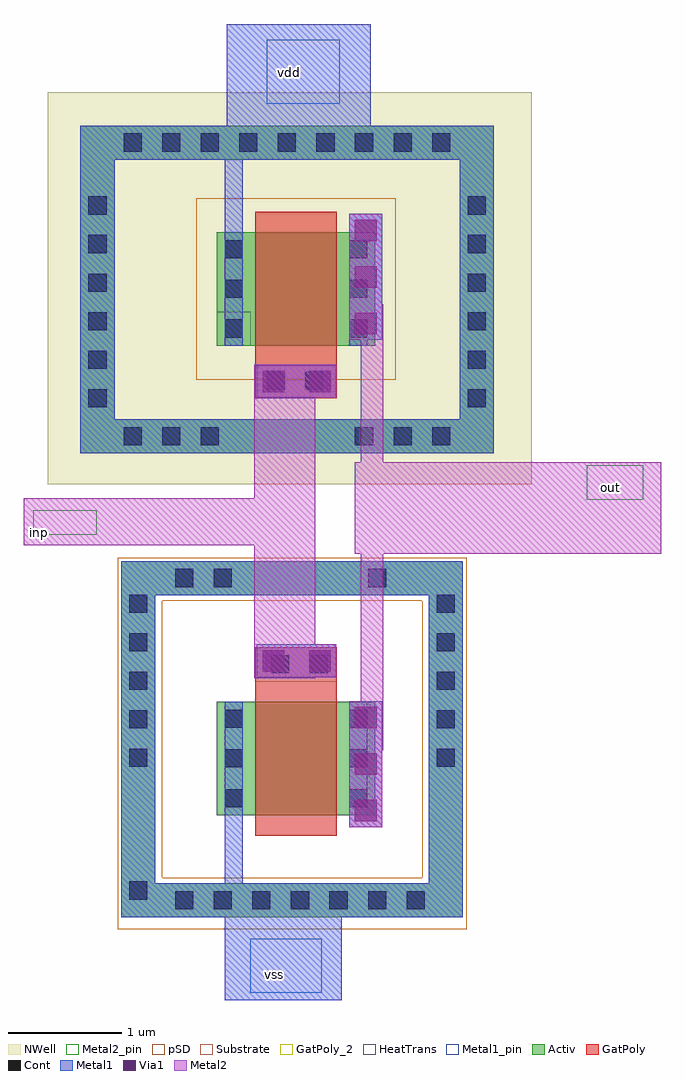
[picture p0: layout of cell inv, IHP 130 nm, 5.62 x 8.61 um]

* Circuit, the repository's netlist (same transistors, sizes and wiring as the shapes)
* Extracted by KLayout with SG13G2 LVS runset on : 26/12/2025 19:48

.SUBCKT inv
M$1 \$1 \$4 \$3 \$1 sg13_lv_nmos L=0.72u W=1u AS=0.34p AD=0.34p PS=2.68u
+ PD=2.68u
M$2 \$2 \$4 \$3 \$2 sg13_lv_pmos L=0.72u W=1u AS=0.34p AD=0.34p PS=2.68u
+ PD=2.68u
.ENDS inv

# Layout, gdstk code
from math import pi, radians
import gdstk
lib = gdstk.Library(unit=1e-6, precision=1e-09)
def R(c, l, rs):  # rectangles x0, y0, x1, y1
    for r in rs: c.add(gdstk.rectangle(r[:2], r[2:], *l))
def A(c, l, x, y, w, h, nx, ny, dx, dy):  # array of equal rectangles
    R(c, l, [(x+i*dx, y+j*dy, x+i*dx+w, y+j*dy+h) for i in range(nx) for j in range(ny)])
def P(c, l, *ps):  # polygons
    for p in ps: c.add(gdstk.Polygon(p, *l))
Activ = (1, 0)
GatPoly = (5, 0)
GatPoly_2 = (5, 2)
Cont = (6, 0)
Metal1 = (8, 0)
Metal1_pin = (8, 2)
Metal2 = (10, 0)
Metal2_pin = (10, 2)
pSD = (14, 0)
Via1 = (19, 0)
NWell = (31, 0)
Substrate = (40, 0)
HeatTrans = (51, 0)

via_stack = lib.new_cell('via_stack')
R(via_stack, Metal1, [(-0.145,-0.555,0.145,0.555)])
R(via_stack, Metal2, [(-0.145,-0.555,0.145,0.555)])
A(via_stack, Via1, -0.095, -0.505, 0.19, 0.19, 1, 3, 0, 0.41)

nmos = lib.new_cell('nmos')
R(nmos, Activ, [(0,0,0.3,0.3), (0,0,1.4,1), (1.1,0,1.4,0.3)])
R(nmos, GatPoly, [(0.34,-0.18,1.06,1.18)])
R(nmos, GatPoly_2, [(0.34,-0.18,1.06,1.18)])
A(nmos, Cont, 0.07, 0.07, 0.16, 0.16, 1, 3, 0, 0.35)
A(nmos, Cont, 1.17, 0.07, 0.16, 0.16, 1, 3, 0, 0.35)
R(nmos, Metal1, [(0.07,0,0.23,1), (1.17,0,1.33,1)])
R(nmos, Metal1_pin, [(0.07,0,0.23,1), (1.17,0,1.33,1)])
R(nmos, HeatTrans, [(0.34,-0.18,1.06,1.18)])
nmos.add(gdstk.Label('nmos', (0.7,0.5), layer=63, texttype=0))
nmos.add(gdstk.Label('nmos', (0.7,0.5), layer=51, texttype=0))

pmos = lib.new_cell('pmos')
R(pmos, Activ, [(0,0,0.3,0.3), (0,0,1.4,1), (1.1,0,1.4,0.3)])
R(pmos, GatPoly, [(0.34,-0.18,1.06,1.18), (0.34,-0.18,1.06,1.18)])
A(pmos, Cont, 0.07, 0.07, 0.16, 0.16, 1, 3, 0, 0.35)
A(pmos, Cont, 1.17, 0.07, 0.16, 0.16, 1, 3, 0, 0.35)
R(pmos, Metal1, [(0.07,0,0.23,1), (0.07,0,0.23,1), (1.17,0,1.33,1), (1.17,0,1.33,1)])
R(pmos, pSD, [(-0.18,-0.3,1.58,1.3)])
R(pmos, NWell, [(-0.31,-0.31,1.71,1.31)])
R(pmos, Substrate, [(1.1,0,1.4,0.3)])
R(pmos, HeatTrans, [(0.34,-0.18,1.06,1.18)])
pmos.add(gdstk.Label('pmos', (0.7,0.5), layer=63, texttype=0))
pmos.add(gdstk.Label('pmos', (0.7,0.5), layer=51, texttype=0))

via_stack_2 = lib.new_cell('via_stack$2')
R(via_stack_2, Metal1, [(-0.35,-0.145,0.35,0.145)])
R(via_stack_2, Metal2, [(-0.35,-0.145,0.35,0.145)])
R(via_stack_2, Via1, [(-0.3,-0.095,-0.11,0.095), (0.11,-0.095,0.3,0.095)])

inv = lib.new_cell('inv')
R(inv, Activ, [(17.51,28.77,17.81,31.91), (17.81,28.77,20.22,29.07), (20.22,28.77,20.52,31.91), (17.81,31.61,20.22,31.91), (17.395,35.45,20.55,35.75)])
P(inv, Activ, [(17.15,32.86),(17.15,35.75),(20.795,35.75),(20.795,35.45),(17.45,35.45),(17.45,33.16),(20.495,33.16),(20.495,35.45),(20.795,35.45),(20.795,32.86)])
R(inv, GatPoly, [(18.69,30.85,19.41,31.15), (18.69,33.345,19.41,33.645)])
R(inv, Cont, [(17.985,28.84,18.145,29), (17.985,28.84,18.145,29), (17.985,28.84,18.145,29), (17.985,28.84,18.145,29), (18.325,28.84,18.485,29), (18.325,28.84,18.485,29), (18.325,28.84,18.485,29), (18.325,28.84,18.485,29), (18.665,28.84,18.825,29), (18.665,28.84,18.825,29), (18.665,28.84,18.825,29), (18.665,28.84,18.825,29), (19.005,28.84,19.165,29), (19.005,28.84,19.165,29), (19.005,28.84,19.165,29), (19.005,28.84,19.165,29), (19.345,28.84,19.505,29), (19.345,28.84,19.505,29), (19.345,28.84,19.505,29), (19.345,28.84,19.505,29), (19.685,28.84,19.845,29), (19.685,28.84,19.845,29), (19.685,28.84,19.845,29), (19.685,28.84,19.845,29), (20.025,28.84,20.185,29), (20.025,28.84,20.185,29), (20.025,28.84,20.185,29), (20.025,28.84,20.185,29), (17.58,28.925,17.74,29.085), (17.58,28.925,17.74,29.085), (17.58,28.925,17.74,29.085), (17.58,28.925,17.74,29.085), (17.58,30.095,17.74,30.255), (17.58,30.095,17.74,30.255), (17.58,30.095,17.74,30.255), (17.58,30.095,17.74,30.255), (20.29,30.095,20.45,30.255), (20.29,30.095,20.45,30.255), (20.29,30.095,20.45,30.255), (20.29,30.095,20.45,30.255), (17.58,30.435,17.74,30.595), (17.58,30.435,17.74,30.595), (17.58,30.435,17.74,30.595), (17.58,30.435,17.74,30.595), (20.29,30.435,20.45,30.595), (20.29,30.435,20.45,30.595), (20.29,30.435,20.45,30.595), (20.29,30.435,20.45,30.595), (17.58,30.775,17.74,30.935), (17.58,30.775,17.74,30.935), (17.58,30.775,17.74,30.935), (17.58,30.775,17.74,30.935), (20.29,30.775,20.45,30.935), (20.29,30.775,20.45,30.935), (20.29,30.775,20.45,30.935), (20.29,30.775,20.45,30.935), (18.83,30.92,18.99,31.08), (18.83,30.92,18.99,31.08), (19.17,30.92,19.33,31.08), (19.17,30.92,19.33,31.08), (17.58,31.115,17.74,31.275), (17.58,31.115,17.74,31.275), (17.58,31.115,17.74,31.275), (17.58,31.115,17.74,31.275), (20.29,31.115,20.45,31.275), (20.29,31.115,20.45,31.275), (20.29,31.115,20.45,31.275), (20.29,31.115,20.45,31.275), (17.58,31.455,17.74,31.615), (17.58,31.455,17.74,31.615), (17.58,31.455,17.74,31.615), (17.58,31.455,17.74,31.615), (20.29,31.455,20.45,31.615), (20.29,31.455,20.45,31.615), (20.29,31.455,20.45,31.615), (20.29,31.455,20.45,31.615), (17.985,31.68,18.145,31.84), (17.985,31.68,18.145,31.84), (17.985,31.68,18.145,31.84), (17.985,31.68,18.145,31.84), (18.325,31.68,18.485,31.84), (18.325,31.68,18.485,31.84), (18.325,31.68,18.485,31.84), (18.325,31.68,18.485,31.84), (19.685,31.68,19.845,31.84), (19.685,31.68,19.845,31.84), (19.685,31.68,19.845,31.84), (19.685,31.68,19.845,31.84), (17.53,32.93,17.69,33.09), (17.53,32.93,17.69,33.09), (17.53,32.93,17.69,33.09), (17.53,32.93,17.69,33.09), (17.53,32.93,17.69,33.09), (17.53,32.93,17.69,33.09), (17.53,32.93,17.69,33.09), (17.53,32.93,17.69,33.09), (17.87,32.93,18.03,33.09), (17.87,32.93,18.03,33.09), (17.87,32.93,18.03,33.09), (17.87,32.93,18.03,33.09), (17.87,32.93,18.03,33.09), (17.87,32.93,18.03,33.09), (17.87,32.93,18.03,33.09), (17.87,32.93,18.03,33.09), (18.21,32.93,18.37,33.09), (18.21,32.93,18.37,33.09), (18.21,32.93,18.37,33.09), (18.21,32.93,18.37,33.09), (18.21,32.93,18.37,33.09), (18.21,32.93,18.37,33.09), (18.21,32.93,18.37,33.09), (18.21,32.93,18.37,33.09), (19.57,32.93,19.73,33.09), (19.57,32.93,19.73,33.09), (19.57,32.93,19.73,33.09), (19.57,32.93,19.73,33.09), (19.57,32.93,19.73,33.09), (19.57,32.93,19.73,33.09), (19.57,32.93,19.73,33.09), (19.57,32.93,19.73,33.09), (19.91,32.93,20.07,33.09), (19.91,32.93,20.07,33.09), (19.91,32.93,20.07,33.09), (19.91,32.93,20.07,33.09), (19.91,32.93,20.07,33.09), (19.91,32.93,20.07,33.09), (19.91,32.93,20.07,33.09), (19.91,32.93,20.07,33.09), (20.25,32.93,20.41,33.09), (20.25,32.93,20.41,33.09), (20.25,32.93,20.41,33.09), (20.25,32.93,20.41,33.09), (20.25,32.93,20.41,33.09), (20.25,32.93,20.41,33.09), (20.25,32.93,20.41,33.09), (20.25,32.93,20.41,33.09), (17.22,33.265,17.38,33.425), (17.22,33.265,17.38,33.425), (17.22,33.265,17.38,33.425), (17.22,33.265,17.38,33.425), (17.22,33.265,17.38,33.425), (17.22,33.265,17.38,33.425), (17.22,33.265,17.38,33.425), (17.22,33.265,17.38,33.425), (20.565,33.265,20.725,33.425), (20.565,33.265,20.725,33.425), (20.565,33.265,20.725,33.425), (20.565,33.265,20.725,33.425), (20.565,33.265,20.725,33.425), (20.565,33.265,20.725,33.425), (20.565,33.265,20.725,33.425), (20.565,33.265,20.725,33.425), (18.79,33.42,18.95,33.58), (18.79,33.42,18.95,33.58), (19.13,33.42,19.29,33.58), (19.13,33.42,19.29,33.58), (17.22,33.605,17.38,33.765), (17.22,33.605,17.38,33.765), (17.22,33.605,17.38,33.765), (17.22,33.605,17.38,33.765), (17.22,33.605,17.38,33.765), (17.22,33.605,17.38,33.765), (17.22,33.605,17.38,33.765), (17.22,33.605,17.38,33.765), (20.565,33.605,20.725,33.765), (20.565,33.605,20.725,33.765), (20.565,33.605,20.725,33.765), (20.565,33.605,20.725,33.765), (20.565,33.605,20.725,33.765), (20.565,33.605,20.725,33.765), (20.565,33.605,20.725,33.765), (20.565,33.605,20.725,33.765), (17.22,33.945,17.38,34.105), (17.22,33.945,17.38,34.105), (17.22,33.945,17.38,34.105), (17.22,33.945,17.38,34.105), (17.22,33.945,17.38,34.105), (17.22,33.945,17.38,34.105), (17.22,33.945,17.38,34.105), (17.22,33.945,17.38,34.105), (20.565,33.945,20.725,34.105), (20.565,33.945,20.725,34.105), (20.565,33.945,20.725,34.105), (20.565,33.945,20.725,34.105), (20.565,33.945,20.725,34.105), (20.565,33.945,20.725,34.105), (20.565,33.945,20.725,34.105), (20.565,33.945,20.725,34.105), (17.22,34.285,17.38,34.445), (17.22,34.285,17.38,34.445), (17.22,34.285,17.38,34.445), (17.22,34.285,17.38,34.445), (17.22,34.285,17.38,34.445), (17.22,34.285,17.38,34.445), (17.22,34.285,17.38,34.445), (17.22,34.285,17.38,34.445), (20.565,34.285,20.725,34.445), (20.565,34.285,20.725,34.445), (20.565,34.285,20.725,34.445), (20.565,34.285,20.725,34.445), (20.565,34.285,20.725,34.445), (20.565,34.285,20.725,34.445), (20.565,34.285,20.725,34.445), (20.565,34.285,20.725,34.445), (17.22,34.625,17.38,34.785), (17.22,34.625,17.38,34.785), (17.22,34.625,17.38,34.785), (17.22,34.625,17.38,34.785), (17.22,34.625,17.38,34.785), (17.22,34.625,17.38,34.785), (17.22,34.625,17.38,34.785), (17.22,34.625,17.38,34.785), (20.565,34.625,20.725,34.785), (20.565,34.625,20.725,34.785), (20.565,34.625,20.725,34.785), (20.565,34.625,20.725,34.785), (20.565,34.625,20.725,34.785), (20.565,34.625,20.725,34.785), (20.565,34.625,20.725,34.785), (20.565,34.625,20.725,34.785), (17.22,34.965,17.38,35.125), (17.22,34.965,17.38,35.125), (17.22,34.965,17.38,35.125), (17.22,34.965,17.38,35.125), (17.22,34.965,17.38,35.125), (17.22,34.965,17.38,35.125), (17.22,34.965,17.38,35.125), (17.22,34.965,17.38,35.125), (20.565,34.965,20.725,35.125), (20.565,34.965,20.725,35.125), (20.565,34.965,20.725,35.125), (20.565,34.965,20.725,35.125), (20.565,34.965,20.725,35.125), (20.565,34.965,20.725,35.125), (20.565,34.965,20.725,35.125), (20.565,34.965,20.725,35.125), (17.53,35.52,17.69,35.68), (17.53,35.52,17.69,35.68), (17.53,35.52,17.69,35.68), (17.53,35.52,17.69,35.68), (17.53,35.52,17.69,35.68), (17.53,35.52,17.69,35.68), (17.53,35.52,17.69,35.68), (17.53,35.52,17.69,35.68), (17.87,35.52,18.03,35.68), (17.87,35.52,18.03,35.68), (17.87,35.52,18.03,35.68), (17.87,35.52,18.03,35.68), (17.87,35.52,18.03,35.68), (17.87,35.52,18.03,35.68), (17.87,35.52,18.03,35.68), (17.87,35.52,18.03,35.68), (18.21,35.52,18.37,35.68), (18.21,35.52,18.37,35.68), (18.21,35.52,18.37,35.68), (18.21,35.52,18.37,35.68), (18.21,35.52,18.37,35.68), (18.21,35.52,18.37,35.68), (18.21,35.52,18.37,35.68), (18.21,35.52,18.37,35.68), (18.55,35.52,18.71,35.68), (18.55,35.52,18.71,35.68), (18.55,35.52,18.71,35.68), (18.55,35.52,18.71,35.68), (18.55,35.52,18.71,35.68), (18.55,35.52,18.71,35.68), (18.55,35.52,18.71,35.68), (18.55,35.52,18.71,35.68), (18.89,35.52,19.05,35.68), (18.89,35.52,19.05,35.68), (18.89,35.52,19.05,35.68), (18.89,35.52,19.05,35.68), (18.89,35.52,19.05,35.68), (18.89,35.52,19.05,35.68), (18.89,35.52,19.05,35.68), (18.89,35.52,19.05,35.68), (19.23,35.52,19.39,35.68), (19.23,35.52,19.39,35.68), (19.23,35.52,19.39,35.68), (19.23,35.52,19.39,35.68), (19.23,35.52,19.39,35.68), (19.23,35.52,19.39,35.68), (19.23,35.52,19.39,35.68), (19.23,35.52,19.39,35.68), (19.57,35.52,19.73,35.68), (19.57,35.52,19.73,35.68), (19.57,35.52,19.73,35.68), (19.57,35.52,19.73,35.68), (19.57,35.52,19.73,35.68), (19.57,35.52,19.73,35.68), (19.57,35.52,19.73,35.68), (19.57,35.52,19.73,35.68), (19.91,35.52,20.07,35.68), (19.91,35.52,20.07,35.68), (19.91,35.52,20.07,35.68), (19.91,35.52,20.07,35.68), (19.91,35.52,20.07,35.68), (19.91,35.52,20.07,35.68), (19.91,35.52,20.07,35.68), (19.91,35.52,20.07,35.68), (20.25,35.52,20.41,35.68), (20.25,35.52,20.41,35.68), (20.25,35.52,20.41,35.68), (20.25,35.52,20.41,35.68), (20.25,35.52,20.41,35.68), (20.25,35.52,20.41,35.68), (20.25,35.52,20.41,35.68), (20.25,35.52,20.41,35.68)])
R(inv, Metal1, [(18.42,28.04,19.455,29.035), (18.42,28.835,18.58,30.01), (18.42,34.755,18.58,35.53), (18.44,35.475,19.71,36.645)])
R(inv, Metal1_pin, [(18.645,28.105,19.275,28.58), (18.79,35.94,19.435,36.505)])
R(inv, Metal2, [(19.62,30.24,19.82,34.175), (18.68,30.875,19.22,33.64), (19.57,31.975,22.27,32.78), (16.65,32.05,18.75,32.465)])
R(inv, Metal2_pin, [(16.735,32.14,17.295,32.36), (21.615,32.45,22.11,32.755)])
R(inv, pSD, [(17.48,28.665,17.87,31.94), (17.81,28.665,20.22,29.12), (20.165,28.665,20.555,31.94), (17.81,31.56,20.22,31.94)])
R(inv, NWell, [(16.86,32.585,21.13,36.045)])
inv.add(gdstk.FlexPath([(17.66,31.91),(17.66,29.7),(17.66,28.77)], 0.3, ends="flush", simple_path=True, layer=8, datatype=0))  # Metal1
inv.add(gdstk.FlexPath([(20.37,31.91),(20.37,29.7),(20.37,28.77)], 0.3, ends="flush", simple_path=True, layer=8, datatype=0))  # Metal1
inv.add(gdstk.FlexPath([(20.22,28.92),(17.93,28.92),(17.81,28.92)], 0.3, ends="flush", simple_path=True, layer=8, datatype=0))  # Metal1
inv.add(gdstk.FlexPath([(20.22,31.76),(17.93,31.76),(17.81,31.76)], 0.3, ends="flush", simple_path=True, layer=8, datatype=0))  # Metal1
inv.add(gdstk.FlexPath([(20.55,35.6),(20.645,35.6),(20.645,33.01),(20.645,32.86)], 0.3, ends="flush", simple_path=True, layer=8, datatype=0))  # Metal1
inv.add(gdstk.FlexPath([(17.15,33.01),(20.555,33.01),(20.555,32.86)], 0.3, ends="flush", simple_path=True, layer=8, datatype=0))  # Metal1
inv.add(gdstk.FlexPath([(17.395,35.6),(17.3,35.6),(17.3,33.01),(17.3,33.01),(17.3,33.01)], 0.3, ends="flush", simple_path=True, layer=8, datatype=0))  # Metal1
inv.add(gdstk.FlexPath([(17.395,35.6),(20.55,35.6)], 0.3, ends="flush", simple_path=True, layer=8, datatype=0))  # Metal1
inv.add(gdstk.FlexPath([(17.395,35.6),(20.55,35.6)], 0.3, ends="flush", simple_path=True, layer=8, datatype=0))  # Metal1
inv.add(gdstk.Reference(via_stack, (19.665,34.415), rotation=pi, x_reflection=True))
inv.add(gdstk.Reference(via_stack, (19.665,30.12), rotation=pi, x_reflection=True))
inv.add(gdstk.Reference(nmos, (19.75,29.67), rotation=pi, x_reflection=True))
inv.add(gdstk.Reference(pmos, (19.75,33.81), rotation=pi, x_reflection=True))
inv.add(gdstk.Reference(via_stack_2, (19.055,31.03)))
inv.add(gdstk.Reference(via_stack_2, (19.055,33.495)))
inv.add(gdstk.Label('vss', (18.86,28.265), layer=8, texttype=2))
inv.add(gdstk.Label('vdd', (18.99,36.215), layer=8, texttype=2))
inv.add(gdstk.Label('inp', (16.79,32.16), layer=10, texttype=2))
inv.add(gdstk.Label('out', (21.825,32.56), layer=10, texttype=2))

lib.write_gds('inv.gds')
